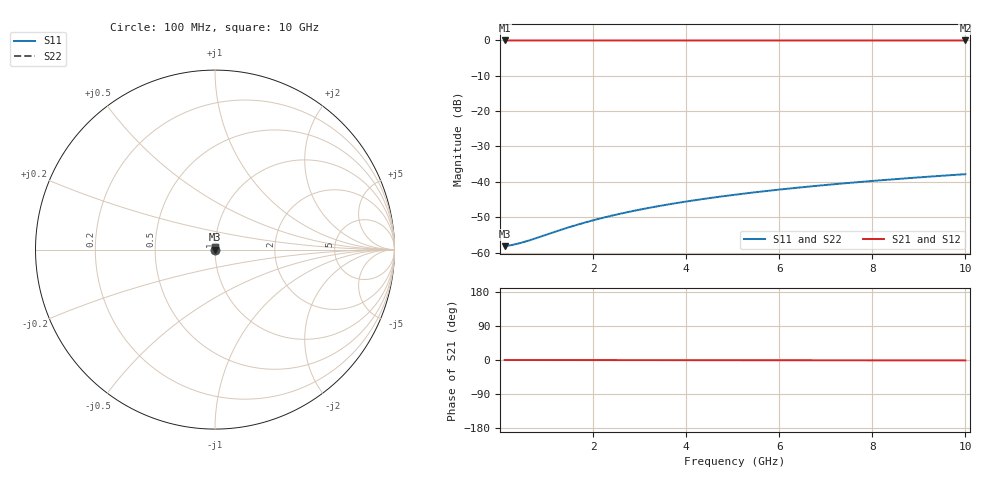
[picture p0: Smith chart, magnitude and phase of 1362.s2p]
# Hz S RI R 50.00
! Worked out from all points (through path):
!   100 points, 100 MHz to 10 GHz, reference 50 ohm
!   highest |S21| = -0.01 dB at 100 MHz (marker M1); lowest = 0.0 dB at 10 GHz (marker M2)
!   lowest |S11| = -58.2 dB at 100 MHz (marker M3), VSWR 1.00, Z = 50.1 + j0.0127 ohm
!   |S11| at or under -10 dB: start of sweep to end of sweep
!   |S22| runs from -58.2 to -37.8 dB; largest |S21 - S12| = 0
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1e8  0.00122 0.000127  0.9988 -0.000183  0.9988 -0.000183  0.00122 0.000127
2e8  0.00123 0.000254  0.9988 -0.000366  0.9988 -0.000366  0.00123 0.000254
3e8  0.00124 0.000381  0.9988 -0.000549  0.9988 -0.000549  0.00124 0.000381
5e8  0.00125 0.000636  0.9988 -0.000915  0.9988 -0.000915  0.00125 0.000636
7e8  0.00125 0.00089  0.9987 -0.00128  0.9987 -0.00128  0.00125 0.00089
1.2e9  0.00127 0.00153  0.9987 -0.0022  0.9987 -0.0022  0.00127 0.00153
1.4e9  0.00127 0.00178  0.9987 -0.00256  0.9987 -0.00256  0.00127 0.00178
1.8e9  0.00128 0.00229  0.9987 -0.00329  0.9987 -0.00329  0.00128 0.00229
2.2e9  0.00129 0.0028  0.9987 -0.00403  0.9987 -0.00403  0.00129 0.0028
2.6e9  0.0013 0.00331  0.9987 -0.00476  0.9987 -0.00476  0.0013 0.00331
3e9  0.00131 0.00381  0.9987 -0.00549  0.9987 -0.00549  0.00131 0.00381
3.4e9  0.00132 0.00432  0.9987 -0.00622  0.9987 -0.00622  0.00132 0.00432
3.8e9  0.00133 0.00483  0.9987 -0.00696  0.9987 -0.00696  0.00133 0.00483
4.2e9  0.00135 0.00534  0.9986 -0.00769  0.9986 -0.00769  0.00135 0.00534
4.6e9  0.00136 0.00585  0.9986 -0.00842  0.9986 -0.00842  0.00136 0.00585
5.1e9  0.00137 0.00648  0.9986 -0.00934  0.9986 -0.00934  0.00137 0.00648
5.9e9  0.0014 0.0075  0.9986 -0.0108  0.9986 -0.0108  0.0014 0.0075
6.7e9  0.00143 0.00852  0.9986 -0.0123  0.9986 -0.0123  0.00143 0.00852
7.5e9  0.00146 0.00954  0.9985 -0.0137  0.9985 -0.0137  0.00146 0.00954
8.4e9  0.0015 0.0107  0.9985 -0.0154  0.9985 -0.0154  0.0015 0.0107
9.2e9  0.00154 0.0117  0.9984 -0.0169  0.9984 -0.0169  0.00154 0.0117
1e10  0.00159 0.0127  0.9984 -0.0183  0.9984 -0.0183  0.00159 0.0127
